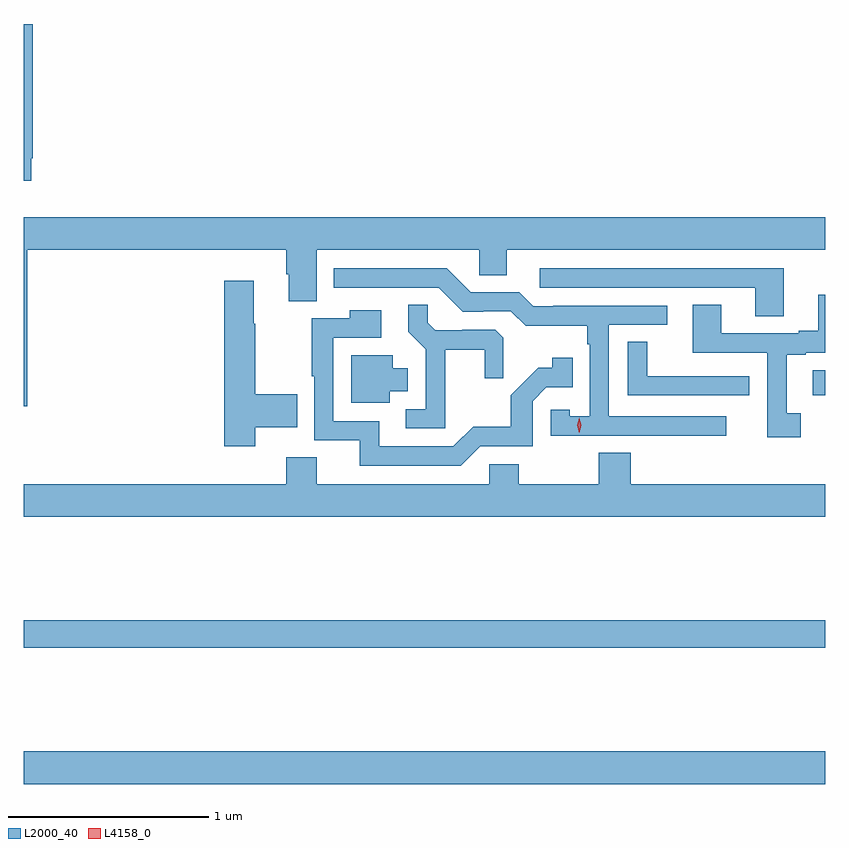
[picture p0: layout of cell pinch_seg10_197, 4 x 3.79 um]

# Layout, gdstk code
import gdstk
lib = gdstk.Library(unit=1e-6, precision=1e-09)
def R(c, l, rs):  # rectangles x0, y0, x1, y1
    for r in rs: c.add(gdstk.rectangle(r[:2], r[2:], *l))
def P(c, l, *ps):  # polygons
    for p in ps: c.add(gdstk.Polygon(p, *l))
L2000_40 = (2000, 40)
L4158_0 = (4158, 0)

pinch_seg10_197 = lib.new_cell('pinch_seg10_197')
R(pinch_seg10_197, L2000_40, [(777.956,1271.012,781.956,1271.176), (777.956,1271.692,781.956,1271.828), (781.893,1272.951,781.956,1273.075)])
P(pinch_seg10_197, L2000_40, [(777.994,1274.134),(778.001,1274.134),(778.001,1274.803),(777.956,1274.803),(777.956,1274.022),(777.994,1274.022)],
  [(777.974,1273.676),(779.267,1273.676),(779.267,1273.554),(779.279,1273.554),(779.279,1273.42),(779.419,1273.42),(779.419,1273.676),(780.228,1273.676),(780.228,1273.549),(780.367,1273.549),(780.367,1273.676),(781.956,1273.676),(781.956,1273.84),(777.956,1273.84),(777.956,1272.897),(777.974,1272.897)],
  [(781.462,1272.846),(780.876,1272.846),(780.876,1273.302),(781.168,1273.302),(781.168,1273.398),(780.598,1273.398),(780.598,1273.395),(780.498,1273.395),(780.429,1273.464),(780.186,1273.464),(780.066,1273.584),(779.504,1273.584),(779.504,1273.488),(780.027,1273.488),(780.147,1273.368),(780.248,1273.368),(780.248,1273.371),(780.387,1273.371),(780.46,1273.298),(780.768,1273.298),(780.768,1273.205),(780.78,1273.205),(780.78,1272.847),(780.681,1272.847),(780.681,1272.879),(780.585,1272.879),(780.585,1272.75),(781.069,1272.75),(781.069,1272.748),(781.462,1272.748)],
  [(781.747,1273.584),(780.531,1273.584),(780.531,1273.488),(781.607,1273.488),(781.607,1273.345),(781.747,1273.345)],
  [(779.112,1272.791),(779.321,1272.791),(779.321,1272.957),(779.112,1272.957),(779.112,1273.309),(779.104,1273.309),(779.104,1273.522),(778.958,1273.522),(778.958,1272.696),(779.112,1272.696)],
  [(781.834,1272.861),(781.762,1272.861),(781.762,1273.152),(781.858,1273.152),(781.858,1273.164),(781.956,1273.164),(781.956,1273.453),(781.919,1273.453),(781.919,1273.273),(781.823,1273.273),(781.823,1273.26),(781.435,1273.26),(781.435,1273.403),(781.295,1273.403),(781.295,1273.164),(781.665,1273.164),(781.665,1272.741),(781.834,1272.741)],
  [(780.059,1273.178),(780.256,1273.178),(780.256,1273.035),(780.35,1273.035),(780.35,1273.237),(780.309,1273.278),(780.144,1273.278),(780.144,1273.275),(780.01,1273.275),(779.973,1273.312),(779.973,1273.403),(779.875,1273.403),(779.875,1273.267),(779.961,1273.181),(779.961,1272.882),(779.862,1272.882),(779.862,1272.786),(780.059,1272.786)],
  [(780.234,1272.696),(780.495,1272.696),(780.495,1272.921),(780.564,1272.99),(780.695,1272.99),(780.695,1273.138),(780.594,1273.138),(780.594,1273.088),(780.524,1273.088),(780.387,1272.95),(780.387,1272.795),(780.198,1272.795),(780.099,1272.696),(779.731,1272.696),(779.731,1272.822),(779.502,1272.822),(779.502,1273.239),(779.74,1273.239),(779.74,1273.375),(779.584,1273.375),(779.584,1273.335),(779.394,1273.335),(779.394,1273.045),(779.406,1273.045),(779.406,1272.726),(779.633,1272.726),(779.633,1272.6),(780.138,1272.6)],
  [(781.576,1273.046),(781.463,1273.046),(781.463,1273.047),(781.068,1273.047),(781.068,1273.217),(780.969,1273.217),(780.969,1272.951),(781.576,1272.951)],
  [(779.782,1272.971),(779.872,1272.971),(779.872,1273.087),(779.797,1273.087),(779.797,1273.15),(779.591,1273.15),(779.591,1272.914),(779.782,1272.914)],
  [(781.956,1272.508),(780.986,1272.508),(780.986,1272.665),(780.826,1272.665),(780.826,1272.508),(780.426,1272.508),(780.426,1272.606),(780.279,1272.606),(780.279,1272.508),(779.419,1272.508),(779.419,1272.641),(779.267,1272.641),(779.267,1272.508),(777.956,1272.508),(777.956,1272.344),(781.956,1272.344)])
P(pinch_seg10_197, L4158_0, [(780.727,1272.765),(780.727,1272.765),(780.717,1272.801),(780.727,1272.837),(780.727,1272.838),(780.727,1272.837),(780.737,1272.801),(780.727,1272.765)])

lib.write_gds('pinch_seg10_197.gds')
